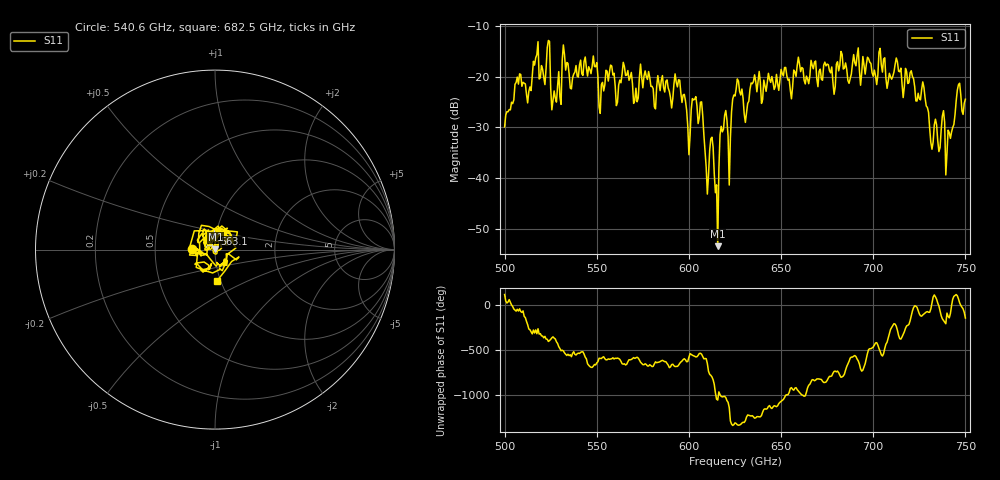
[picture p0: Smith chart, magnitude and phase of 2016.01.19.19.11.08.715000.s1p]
!Created with skrf (http://scikit-rf.org).
# GHz S RI R 50.0
!freq ReS11 ImS11
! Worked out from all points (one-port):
!   401 points, 500 GHz to 750 GHz, reference 50 ohm
!   lowest |S11| = -53.3 dB at 615.6 GHz (marker M1), VSWR 1.00, Z = 50.2 + j0.0685 ohm
!   |S11| at or under -10 dB: start of sweep to end of sweep
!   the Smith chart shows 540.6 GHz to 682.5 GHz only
!   S11 on the Smith chart (normalised r, x): 540.6 GHz: 0.77, +0.00; 563.1 GHz: 0.98, +0.17; 682.5 GHz: 0.96, -0.35
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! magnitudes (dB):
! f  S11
! 500 GHz  -29.9
! 507.5 GHz  -21.5
! 513.1 GHz  -22.9
! 516.9 GHz  -16.3
! 523.8 GHz  -12.9
! 526.9 GHz  -22.8
! 531.2 GHz  -16.9
! 540.6 GHz  -17.8
! 562.5 GHz  -20.7
! 563.1 GHz  -21.2
! 593.8 GHz  -22.0
! 600 GHz  -35.4
! 602.5 GHz  -24.6
! 606.9 GHz  -25.0
! 609.4 GHz  -37.9
! 612.5 GHz  -31.9
! 615.6 GHz  -53.3
! 618.1 GHz  -30.9
! 621.9 GHz  -41.3
! 625 GHz  -23.8
! 631.2 GHz  -27.1
! 656.2 GHz  -22.0
! 682.5 GHz  -15.1
! 687.5 GHz  -20.4
! 718.8 GHz  -21.4
! 740.6 GHz  -30.5
! 746.2 GHz  -21.6
! 750 GHz  -24.5
